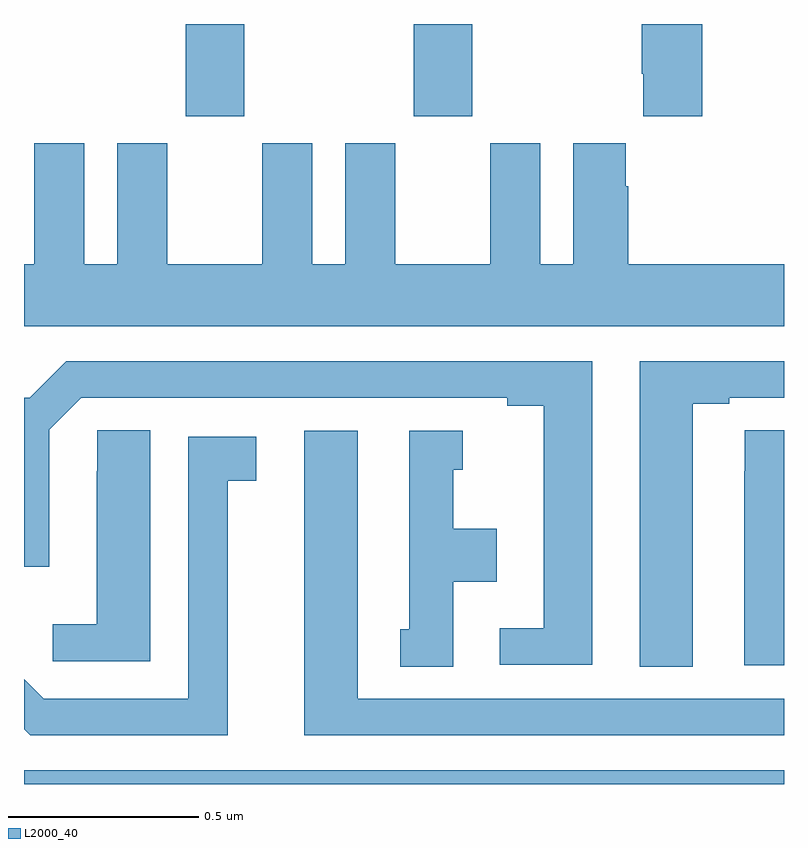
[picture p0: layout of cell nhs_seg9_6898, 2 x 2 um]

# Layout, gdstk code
import gdstk
lib = gdstk.Library(unit=1e-6, precision=1e-09)
def R(c, l, rs):  # rectangles x0, y0, x1, y1
    for r in rs: c.add(gdstk.rectangle(r[:2], r[2:], *l))
def P(c, l, *ps):  # polygons
    for p in ps: c.add(gdstk.Polygon(p, *l))
L2000_40 = (2000, 40)

nhs_seg9_6898 = lib.new_cell('nhs_seg9_6898')
R(nhs_seg9_6898, L2000_40, [(197,1244.5,199,1244.536), (197.425,1246.257,197.58,1246.5), (198.025,1246.257,198.18,1246.5)])
P(nhs_seg9_6898, L2000_40, [(198.785,1246.5),(198.625,1246.5),(198.625,1246.369),(198.629,1246.369),(198.629,1246.257),(198.785,1246.257)],
  [(198.583,1246.073),(198.583,1246.186),(198.446,1246.186),(198.446,1245.868),(198.358,1245.868),(198.358,1246.186),(198.227,1246.186),(198.227,1245.868),(197.977,1245.868),(197.977,1246.186),(197.846,1246.186),(197.846,1245.868),(197.758,1245.868),(197.758,1246.186),(197.627,1246.186),(197.627,1245.868),(197.377,1245.868),(197.377,1246.186),(197.246,1246.186),(197.246,1245.868),(197.158,1245.868),(197.158,1246.186),(197.027,1246.186),(197.027,1245.868),(197,1245.868),(197,1245.704),(199,1245.704),(199,1245.868),(198.59,1245.868),(198.59,1246.073)],
  [(198.496,1245.612),(197.111,1245.612),(197.015,1245.516),(197,1245.516),(197,1245.072),(197.067,1245.072),(197.067,1245.432),(197.151,1245.516),(198.272,1245.516),(198.272,1245.496),(198.368,1245.496),(198.368,1244.91),(198.252,1244.91),(198.252,1244.814),(198.496,1244.814)],
  [(198.76,1245.501),(198.856,1245.501),(198.856,1245.516),(199,1245.516),(199,1245.612),(198.62,1245.612),(198.62,1244.809),(198.76,1244.809)],
  [(199,1245.431),(198.897,1245.431),(198.897,1245.323),(198.896,1245.323),(198.896,1244.813),(199,1244.813)],
  [(197.332,1245.431),(197.193,1245.431),(197.193,1245.323),(197.192,1245.323),(197.192,1244.92),(197.076,1244.92),(197.076,1244.823),(197.332,1244.823)],
  [(199,1244.724),(197.878,1244.724),(197.878,1245.43),(197.738,1245.43),(197.738,1244.628),(199,1244.628)],
  [(198.13,1245.032),(198.244,1245.032),(198.244,1245.172),(198.13,1245.172),(198.13,1245.327),(198.154,1245.327),(198.154,1245.43),(198.014,1245.43),(198.014,1244.907),(197.99,1244.907),(197.99,1244.809),(198.13,1244.809)],
  [(197.536,1245.298),(197.611,1245.298),(197.611,1245.414),(197.432,1245.414),(197.432,1244.724),(197.052,1244.724),(197,1244.776),(197,1244.644),(197.016,1244.628),(197.536,1244.628)])

lib.write_gds('nhs_seg9_6898.gds')
